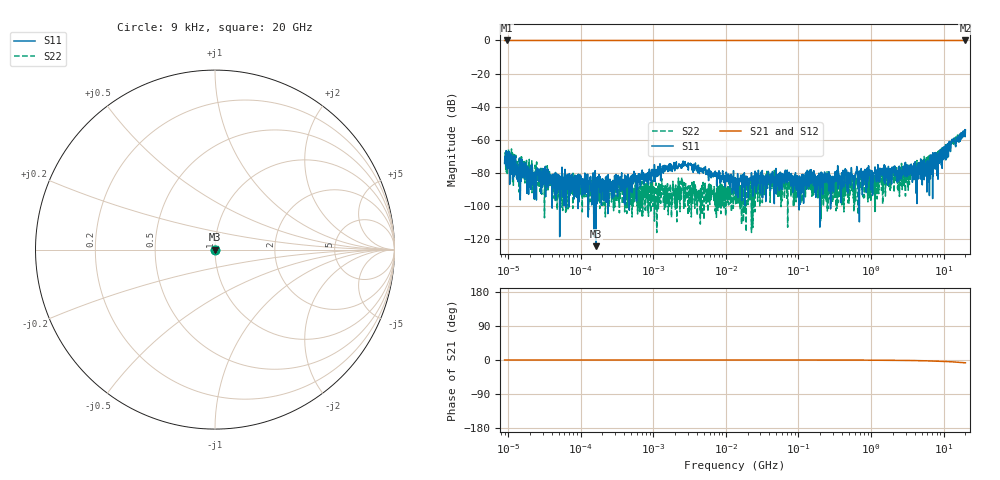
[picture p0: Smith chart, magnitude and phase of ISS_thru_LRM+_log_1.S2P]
!  2-Port S-parameters saved by WinCal
! VAR MeasName=S-Parameters (CALIBRATED_DATA) read from VNA (P5004A)
! VAR MeasDate=26/04/2024 18:05:07
! VAR NAME=ISS_thru_LRM+_log
! VAR FILENAME=ISS_thru_LRM+_log_1.S2P
! VAR DATE=26/04/2024 18:05:07
! VAR PHYS_PORTS=1,2
! VAR ObjTypeName=DATASET
! VAR IndexType=Frequency
# Hz S MA R 50
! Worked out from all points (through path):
!   2000 points, 9 kHz to 20 GHz, reference 50 ohm
!   highest |S21| = 0.01 dB at 9.754 kHz (marker M1); lowest = 0.0 dB at 20 GHz (marker M2)
!   group delay of S21, straight-line fit = 1.03 ps
!   lowest |S11| = -124.1 dB at 162.8 kHz (marker M3), VSWR 1.00, Z = 50 + j5.93e-05 ohm
!   |S11| at or under -10 dB: start of sweep to end of sweep
!   |S22| runs from -115.9 to -54.1 dB; largest |S21 - S12| = 0.0011
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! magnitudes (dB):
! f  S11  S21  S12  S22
! 9 kHz  -74.2  0.0  0.0  -73.5
! 9.754 kHz  -70.6  0.0  0.0  -69.8
! 10.27 kHz  -77.3  0.0  0.0  -70.1
! 10.73 kHz  -78.7  0.0  0.0  -70.2
! 13.96 kHz  -77.4  0.0  0.0  -81.8
! 15.8 kHz  -75.2  0.0  0.0  -82.7
! 16.88 kHz  -79.3  0.0  0.0  -74.9
! 19.39 kHz  -79.4  0.0  0.0  -78.5
! 103.4 kHz  -83.5  0.0  0.0  -93.9
! 162.8 kHz  -124.1  0.0  0.0  -88.2
! 1.18 MHz  -77.9  0.0  0.0  -101.5
! 2.696 MHz  -75.0  0.0  0.0  -90.9
! 6.435 MHz  -79.8  0.0  0.0  -91.2
! 13.47 MHz  -82.7  0.0  0.0  -85.5
! 153.6 MHz  -85.9  0.0  0.0  -94.0
! 1.753 GHz  -79.1  0.0  0.0  -84.9
! 3.722 GHz  -85.5  0.0  0.0  -76.0
! 4.807 GHz  -83.6  0.0  0.0  -74.9
! 6.119 GHz  -75.2  0.0  0.0  -70.2
! 7.676 GHz  -77.6  0.0  0.0  -69.0
! 13.58 GHz  -61.1  0.0  0.0  -61.2
! 20 GHz  -54.1  0.0  0.0  -54.1
